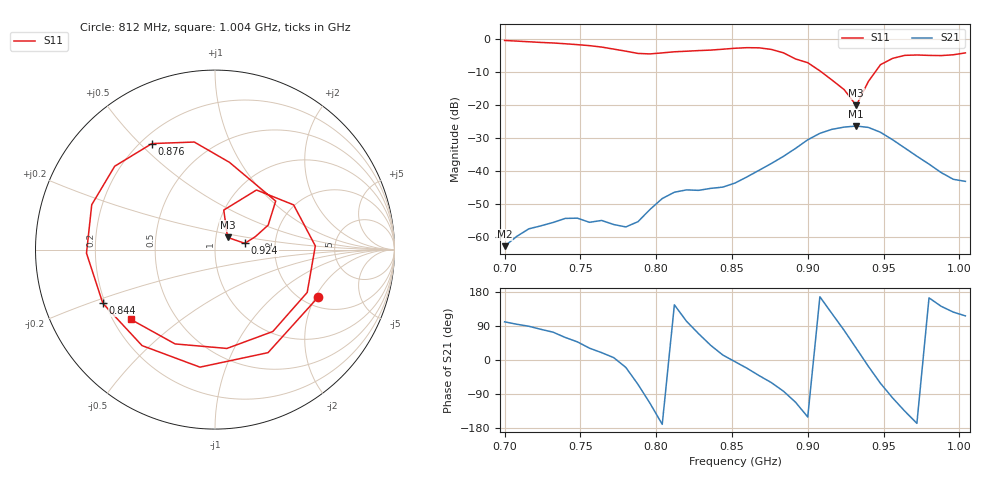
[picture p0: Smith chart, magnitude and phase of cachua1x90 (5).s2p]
# Hz S RI R 50
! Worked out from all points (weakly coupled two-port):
!   39 points, 700 MHz to 1.004 GHz, reference 50 ohm
!   highest |S21| = -26.43 dB at 932 MHz (marker M1); lowest = -62.8 dB at 700 MHz (marker M2)
!   lowest |S11| = -20.2 dB at 932 MHz (marker M3), VSWR 1.22, Z = 57 + j7.81 ohm
!   |S11| at or under -10 dB: 908.8 MHz to 944.6 MHz (35.87 MHz wide, 3.87 % of centre)
!   S12 and S22 are empty: the file has one direction only
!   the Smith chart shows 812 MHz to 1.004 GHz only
!   S11 on the Smith chart (normalised r, x): 812 MHz: 2.40, -2.12; 844 MHz: 0.19, -0.22; 876 MHz: 0.24, +0.54; 924 MHz: 1.39, +0.10; 1.004 GHz: 0.27, -0.34
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7e8  0.7581 0.5553  -0.000135 0.000713  0 0  0 0
7.24e8  0.8417 -0.246  0.000233 0.00146  0 0  0 0
7.4e8  0.4593 -0.7004  0.000969 0.00164  0 0  0 0
7.56e8  -0.1896 -0.7613  0.00142 0.000863  0 0  0 0
7.72e8  -0.6644 -0.2043  0.00153 0.000167  0 0  0 0
7.8e8  -0.6078 0.2214  0.00134 -0.000478  0 0  0 0
7.88e8  -0.2636 0.5364  0.000738 -0.00154  0 0  0 0
7.96e8  0.2276 0.5422  -0.0011 -0.00238  0 0  0 0
8.04e8  0.5744 0.2041  -0.00375 -0.000675  0 0  0 0
8.12e8  0.5761 -0.2635  -0.00392 0.00268  0 0  0 0
8.28e8  -0.0838 -0.6549  0.00179 0.00475  0 0  0 0
8.44e8  -0.625 -0.2993  0.00554 0.00128  0 0  0 0
8.52e8  -0.7159 -0.0201  0.00652 -0.000507  0 0  0 0
8.76e8  -0.3514 0.5907  0.00653 -0.0112  0 0  0 0
9e8  0.3381 0.2701  -0.0257 -0.0146  0 0  0 0
9.08e8  0.2963 0.1363  -0.036 0.00841  0 0  0 0
9.24e8  0.1661 0.0347  0.00937 0.045  0 0  0 0
9.32e8  0.0702 0.0679  0.0409 0.0245  0 0  0 0
9.56e8  0.438 0.2492  -0.00521 -0.0291  0 0  0 0
9.64e8  0.559 0.0206  -0.0157 -0.0157  0 0  0 0
9.8e8  0.3223 -0.4562  -0.0122 0.00349  0 0  0 0
1.004e9  -0.4693 -0.3887  -0.00309 0.00621  0 0  0 0
